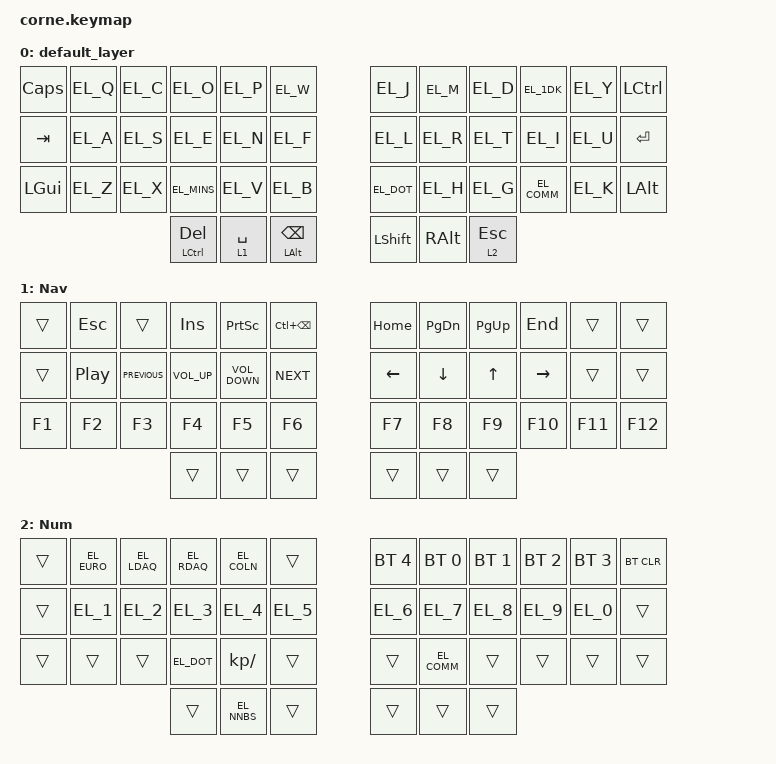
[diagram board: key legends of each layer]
/*
 * Copyright (c) 2020 The ZMK Contributors
 *
 * SPDX-License-Identifier: MIT
 */

#include <behaviors.dtsi>
#include <dt-bindings/zmk/bt.h>
#include <dt-bindings/zmk/keys.h>

#include "ergol_aliases.h"

&lt { quick-tap-ms = <200>; };

&mt { quick-tap-ms = <200>; };

/ {
    keymap {
        compatible = "zmk,keymap";

        default_layer {
            // ┌───┬───┬───┬───┬───┬───┐       ┌───┬───┬───┬───┬───┬───┐
            // │Cap│ Q │ C │ O │ P │ W │       │ J │ M │ D │ ★ │ Y │Ctl│
            // ├───┼───┼───┼───┼───┼───┤       ├───┼───┼───┼───┼───┼───┤
            // │Tab│ A │ S │ E │ N │ F │       │ L │ R │ T │ I │ U │Ent│
            // ├───┼───┼───┼───┼───┼───┤       ├───┼───┼───┼───┼───┼───┤
            // │GUI│ Z │ X │ - │ V │ B │       │ . │ H │ G │ , │ K │Alt│
            // └───┴───┴───┴───┴───┴───┘       └───┴───┴───┴───┴───┴───┘
            //             ┌───┬───┬───┐       ┌───┬───┬───┐
            //             │Del│   │Bsp│       │Sft│Agr│Esc│
            //             └───┴───┴───┘       └───┴───┴───┘

            bindings = <
&kp CAPSLOCK  &kp EL_Q  &kp EL_C  &kp EL_O          &kp EL_P     &kp EL_W                  &kp EL_J        &kp EL_M       &kp EL_D      &kp EL_1DK   &kp EL_Y  &kp LCTRL
&kp TAB       &kp EL_A  &kp EL_S  &kp EL_E          &kp EL_N     &kp EL_F                  &kp EL_L        &kp EL_R       &kp EL_T      &kp EL_I     &kp EL_U  &kp ENTER
&kp LEFT_GUI  &kp EL_Z  &kp EL_X  &kp EL_MINS       &kp EL_V     &kp EL_B                  &kp EL_DOT      &kp EL_H       &kp EL_G      &kp EL_COMM  &kp EL_K  &kp LEFT_ALT
                                  &mt LCTRL DELETE  &lt 1 SPACE  &mt LEFT_ALT BACKSPACE    &kp LEFT_SHIFT  &kp RIGHT_ALT  &lt 2 ESCAPE
            >;
        };

        Nav {
            // ┌───┬───┬───┬───┬───┬───┐       ┌───┬───┬───┬───┬───┬───┐
            // │   │   │   │ ⎀ │ ⎙ │⌃⌫ │       │ ⇱ │ ⇟ │ ⇞ │ ⇲ │   │   │
            // ├───┼───┼───┼───┼───┼───┤       ├───┼───┼───┼───┼───┼───┤
            // │   │⏯  │⏮  │🕪  │🕩  │⏭  │       │ ← │ ↓ │ ↑ │ → │   │   │
            // ├───┼───┼───┼───┼───┼───┤       ├───┼───┼───┼───┼───┼───┤
            // │F1 │F2 │F3 │F4 │F5 │F6 │       │F7 │F8 │F9 │F10│F11│F12│
            // └───┴───┴───┴───┴───┴───┘       └───┴───┴───┴───┴───┴───┘
            //             ┌───┬───┬───┐       ┌───┬───┬───┐
            //             │   │   │   │       │   │   │   │
            //             └───┴───┴───┘       └───┴───┴───┘

            bindings = <
&trans  &kp ESCAPE        &trans          &kp INSERT       &kp PRINTSCREEN    &kp LC(BACKSPACE)    &kp HOME  &kp PAGE_DOWN  &kp PAGE_UP  &kp END    &trans   &trans
&trans  &kp C_PLAY_PAUSE  &kp C_PREVIOUS  &kp C_VOLUME_UP  &kp C_VOLUME_DOWN  &kp C_NEXT           &kp LEFT  &kp DOWN       &kp UP       &kp RIGHT  &trans   &trans
&kp F1  &kp F2            &kp F3          &kp F4           &kp F5             &kp F6               &kp F7    &kp F8         &kp F9       &kp F10    &kp F11  &kp F12
                                          &trans           &trans             &trans               &trans    &trans         &trans
            >;
        };

        Num {
            // ┌───┬───┬───┬───┬───┬───┐       ┌───┬───┬───┬───┬───┬───┐
            // │   │ € │ « │ » │ : │   │       │   │   │   │   │   │   │
            // ├───┼───┼───┼───┼───┼───┤       ├───┼───┼───┼───┼───┼───┤
            // │   │ 1 │ 2 │ 3 │ 4 │ 5 │       │ 6 │ 7 │ 8 │ 9 │ 0 │   │
            // ├───┼───┼───┼───┼───┼───┤       ├───┼───┼───┼───┼───┼───┤
            // │   │   │   │ . │ / │   │       │   │ , │   │   │   │   │
            // └───┴───┴───┴───┴───┴───┘       └───┴───┴───┴───┴───┴───┘
            //             ┌───┬───┬───┐       ┌───┬───┬───┐
            //             │   │ ⍽ │   │       │   │   │   │
            //             └───┴───┴───┘       └───┴───┴───┘

            bindings = <
&trans  &kp EL_EURO  &kp EL_LDAQ  &kp EL_RDAQ  &kp EL_COLN   &trans      &bt BT_SEL 4  &bt BT_SEL 0  &bt BT_SEL 1  &bt BT_SEL 2  &bt BT_SEL 3  &bt BT_CLR
&trans  &kp EL_1     &kp EL_2     &kp EL_3     &kp EL_4      &kp EL_5    &kp EL_6      &kp EL_7      &kp EL_8      &kp EL_9      &kp EL_0      &trans
&trans  &trans       &trans       &kp EL_DOT   &kp KP_SLASH  &trans      &trans        &kp EL_COMM   &trans        &trans        &trans        &trans
                                  &trans       &kp EL_NNBS   &trans      &trans        &trans        &trans
            >;
        };
    };
};
